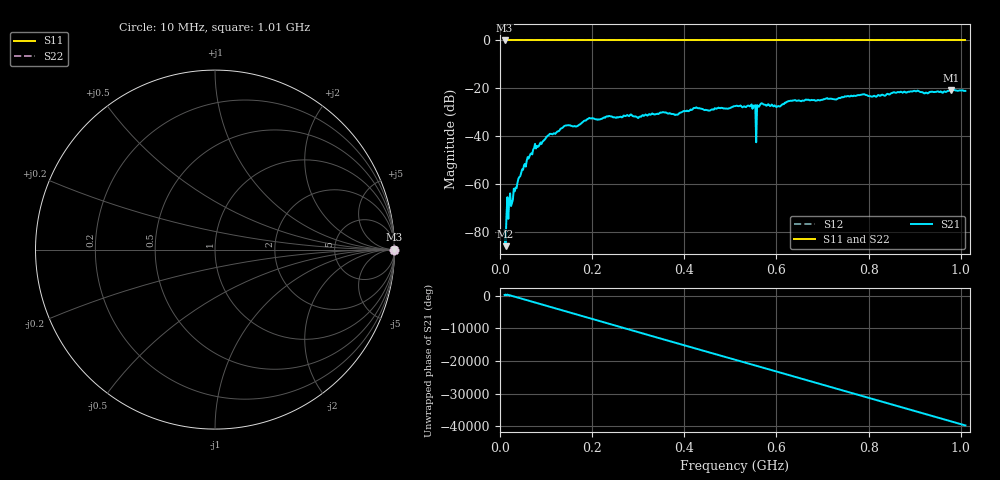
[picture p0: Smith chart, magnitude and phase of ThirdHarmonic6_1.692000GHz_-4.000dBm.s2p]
! 8/16/2025 8:19:11 PM
! C:\ANRITSUVNA\TEMP\TEMP.S2P
! CHANNEL.1
! TR.MEASUREMENT
! RAW.DATA
! RF.CORRECTION.OFF
! AVERAGING.OFF
! IF.BANDWIDTH: 5KHZ
! SWEEPTYPE:  FREQ.SWEEP(Linear)
! Reference Plane Port Info
! PORT:  PORT1  PORT2
! DISTANCE:  0  m  0  m
! TIME:  0  s  0  s
! PHASE.OFFSET:  0  deg.  0  deg.
! LOSS:  0  dB  0  dB
! REF.LOSS:  0  dB  0  dB
! REF.FREQ:  0  Hz  0  Hz
! Power Info
! POWER:  -20  dBm  -20  dBm
! EFF.POWER:  -20  dBm  -20  dBm
! SOURCE.ATTEN:  0  dB  0  dB
! TEST.ATTEN:  0  dB  0  dB
# GHZ S RI R 50.0
! FREQ.GHZ  S11RE  S11IM  S21RE  S21IM  S12RE  S12IM  S22RE  S22IM
!; PortSelection: Port_12
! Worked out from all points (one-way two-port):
!   501 points, 10 MHz to 1.01 GHz, reference 50 ohm
!   highest |S21| = -20.67 dB at 978 MHz (marker M1); lowest = -86.0 dB at 12 MHz (marker M2)
!   lowest |S11| = 0.0 dB at 10 MHz (marker M3)
!   |S11| at or under -10 dB: nowhere
!   |S22| runs from 0.0 to 0.0 dB; largest |S21 - S12| = 1.1
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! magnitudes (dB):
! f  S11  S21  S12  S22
! 10 MHz  0.0  -79.3  0.0  0.0
! 12 MHz  0.0  -86.0  0.0  0.0
! 18 MHz  0.0  -74.6  0.0  0.0
! 28 MHz  0.0  -66.4  0.0  0.0
! 44 MHz  0.0  -56.7  0.0  0.0
! 76 MHz  0.0  -43.2  0.0  0.0
! 142 MHz  0.0  -35.6  0.0  0.0
! 178 MHz  0.0  -34.3  0.0  0.0
! 196 MHz  0.0  -32.5  0.0  0.0
! 344 MHz  0.0  -30.8  0.0  0.0
! 510 MHz  0.0  -27.5  0.0  0.0
! 550 MHz  0.0  -27.2  0.0  0.0
! 552 MHz  0.0  -27.6  0.0  0.0
! 560 MHz  0.0  -27.6  0.0  0.0
! 562 MHz  0.0  -27.7  0.0  0.0
! 568 MHz  0.0  -26.2  0.0  0.0
! 604 MHz  0.0  -27.4  0.0  0.0
! 628 MHz  0.0  -25.3  0.0  0.0
! 678 MHz  0.0  -24.9  0.0  0.0
! 844 MHz  0.0  -22.6  0.0  0.0
! 978 MHz  0.0  -20.7  0.0  0.0
! 1.01 GHz  0.0  -21.1  0.0  0.0
